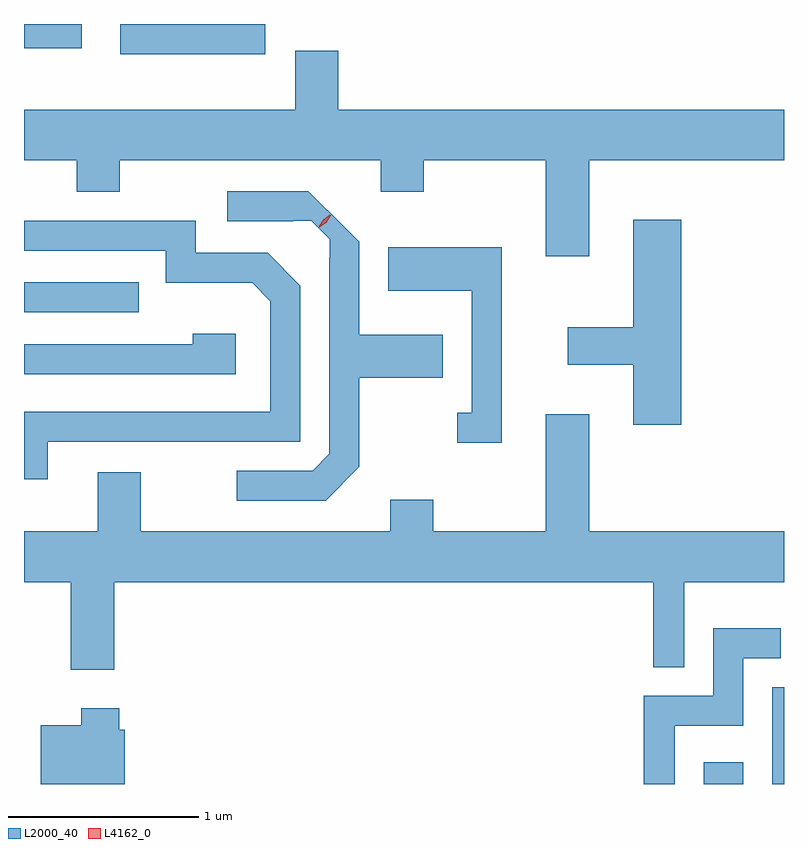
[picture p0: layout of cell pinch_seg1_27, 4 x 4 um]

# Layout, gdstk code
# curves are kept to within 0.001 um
import gdstk
lib = gdstk.Library(unit=1e-6, precision=1e-09)
def R(c, l, rs):  # rectangles x0, y0, x1, y1
    for r in rs: c.add(gdstk.rectangle(r[:2], r[2:], *l))
def P(c, l, *ps):  # polygons
    for p in ps: c.add(gdstk.Polygon(p, *l))
L2000_40 = (2000, 40)
L4162_0 = (4162, 0)

pinch_seg1_27 = lib.new_cell('pinch_seg1_27')
R(pinch_seg1_27, L2000_40, [(1101.391,900.734,1101.599,900.849), (1101.751,900.734,1101.814,901.244), (1097.814,903.216,1098.418,903.374), (1098.321,904.576,1099.084,904.734), (1097.814,904.606,1098.119,904.734)])
P(pinch_seg1_27, L2000_40, [(1100.789,904.016),(1101.814,904.016),(1101.814,904.284),(1099.469,904.284),(1099.469,904.594),(1099.241,904.594),(1099.241,904.284),(1097.814,904.284),(1097.814,904.016),(1098.091,904.016),(1098.091,903.851),(1098.319,903.851),(1098.319,904.016),(1099.691,904.016),(1099.691,903.851),(1099.919,903.851),(1099.919,904.016),(1100.561,904.016),(1100.561,903.511),(1100.789,903.511)],
  [(1099.579,902.404),(1099.579,902.871),(1100.019,902.871),(1100.019,903.099),(1099.579,903.099),(1099.579,903.587),(1099.311,903.854),(1098.883,903.854),(1098.883,903.696),(1099.23,903.696),(1099.23,903.699),(1099.326,903.699),(1099.424,903.601),(1099.424,903.505),(1099.421,903.505),(1099.421,902.472),(1099.334,902.384),(1098.933,902.384),(1098.933,902.226),(1099.402,902.226)],
  [(1101.274,903.704),(1101.021,903.704),(1101.021,903.139),(1100.676,903.139),(1100.676,902.941),(1101.021,902.941),(1101.021,902.626),(1101.274,902.626)],
  [(1097.939,902.536),(1099.269,902.536),(1099.269,903.357),(1099.097,903.529),(1098.719,903.529),(1098.719,903.699),(1097.814,903.699),(1097.814,903.541),(1098.561,903.541),(1098.561,903.371),(1099.014,903.371),(1099.111,903.274),(1099.111,902.694),(1097.814,902.694),(1097.814,902.338),(1097.939,902.338)],
  [(1100.329,903.559),(1099.731,903.559),(1099.731,903.331),(1100.171,903.331),(1100.171,902.689),(1100.093,902.689),(1100.093,902.531),(1100.329,902.531)],
  [(1098.929,903.104),(1098.701,903.104),(1098.701,903.049),(1097.814,903.049),(1097.814,902.891),(1098.929,902.891)],
  [(1098.289,901.796),(1101.126,901.796),(1101.126,901.348),(1101.289,901.348),(1101.289,901.796),(1101.814,901.796),(1101.814,902.064),(1100.789,902.064),(1100.789,902.679),(1100.561,902.679),(1100.561,902.064),(1099.969,902.064),(1099.969,902.229),(1099.741,902.229),(1099.741,902.064),(1098.429,902.064),(1098.429,902.374),(1098.201,902.374),(1098.201,902.064),(1097.814,902.064),(1097.814,901.796),(1098.061,901.796),(1098.061,901.336),(1098.289,901.336)],
  [(1101.239,901.041),(1101.599,901.041),(1101.599,901.396),(1101.798,901.396),(1101.798,901.554),(1101.441,901.554),(1101.441,901.199),(1101.076,901.199),(1101.076,900.734),(1101.239,900.734)],
  [(1098.344,901.019),(1098.314,901.019),(1098.314,901.134),(1098.116,901.134),(1098.116,901.044),(1097.901,901.044),(1097.901,900.734),(1098.344,900.734)])
P(pinch_seg1_27, L4162_0, [(1099.364,903.661),(1099.364,903.662),(1099.39,903.703),(1099.43,903.731),(1099.431,903.731),(1099.431,903.73),(1099.404,903.689),(1099.364,903.661)],
  [(1099.366,903.667),(1099.366,903.668),(1099.388,903.705),(1099.424,903.729),(1099.424,903.729),(1099.424,903.728),(1099.402,903.691),(1099.366,903.667)])

lib.write_gds('pinch_seg1_27.gds')
